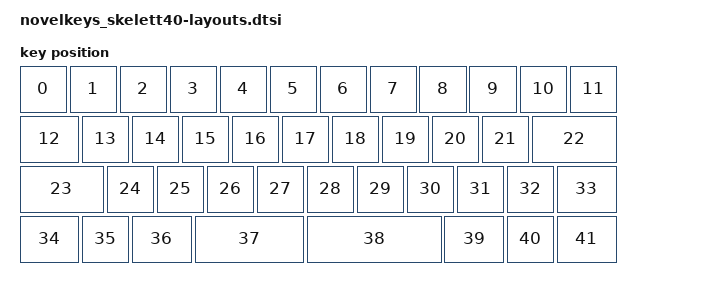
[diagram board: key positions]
#include <physical_layouts.dtsi>

/ {
    standard_layout: standard_layout {
        compatible = "zmk,physical-layout";
        display-name = "Standard";

        transform = <&standard_transform>;
        kscan = <&kscan0>;

        keys
            = <&key_physical_attrs 100 100 000  000 0 0 0>
            , <&key_physical_attrs 100 100 100  000 0 0 0>
            , <&key_physical_attrs 100 100 200  000 0 0 0>
            , <&key_physical_attrs 100 100 300  000 0 0 0>
            , <&key_physical_attrs 100 100 400  000 0 0 0>
            , <&key_physical_attrs 100 100 500  000 0 0 0>
            , <&key_physical_attrs 100 100 600  000 0 0 0>
            , <&key_physical_attrs 100 100 700  000 0 0 0>
            , <&key_physical_attrs 100 100 800  000 0 0 0>
            , <&key_physical_attrs 100 100 900  000 0 0 0>
            , <&key_physical_attrs 100 100 1000 000 0 0 0>
            , <&key_physical_attrs 100 100 1100 000 0 0 0>

            , <&key_physical_attrs 125 100 000  100 0 0 0>
            , <&key_physical_attrs 100 100 125  100 0 0 0>
            , <&key_physical_attrs 100 100 225  100 0 0 0>
            , <&key_physical_attrs 100 100 325  100 0 0 0>
            , <&key_physical_attrs 100 100 425  100 0 0 0>
            , <&key_physical_attrs 100 100 525  100 0 0 0>
            , <&key_physical_attrs 100 100 625  100 0 0 0>
            , <&key_physical_attrs 100 100 725  100 0 0 0>
            , <&key_physical_attrs 100 100 825  100 0 0 0>
            , <&key_physical_attrs 100 100 925  100 0 0 0>
            , <&key_physical_attrs 175 100 1025 100 0 0 0>

            , <&key_physical_attrs 175 100 000  200 0 0 0>
            , <&key_physical_attrs 100 100 175  200 0 0 0>
            , <&key_physical_attrs 100 100 275  200 0 0 0>
            , <&key_physical_attrs 100 100 375  200 0 0 0>
            , <&key_physical_attrs 100 100 475  200 0 0 0>
            , <&key_physical_attrs 100 100 575  200 0 0 0>
            , <&key_physical_attrs 100 100 675  200 0 0 0>
            , <&key_physical_attrs 100 100 775  200 0 0 0>
            , <&key_physical_attrs 100 100 875  200 0 0 0>
            , <&key_physical_attrs 100 100 975  200 0 0 0>
            , <&key_physical_attrs 125 100 1075 200 0 0 0>

            , <&key_physical_attrs 125 100 000  300 0 0 0>
            , <&key_physical_attrs 100 100 125  300 0 0 0>
            , <&key_physical_attrs 125 100 225  300 0 0 0>
            , <&key_physical_attrs 225 100 350  300 0 0 0>
            , <&key_physical_attrs 275 100 575  300 0 0 0>
            , <&key_physical_attrs 125 100 850  300 0 0 0>
            , <&key_physical_attrs 100 100 975  300 0 0 0>
            , <&key_physical_attrs 125 100 1075 300 0 0 0>
            ;
    };
};
